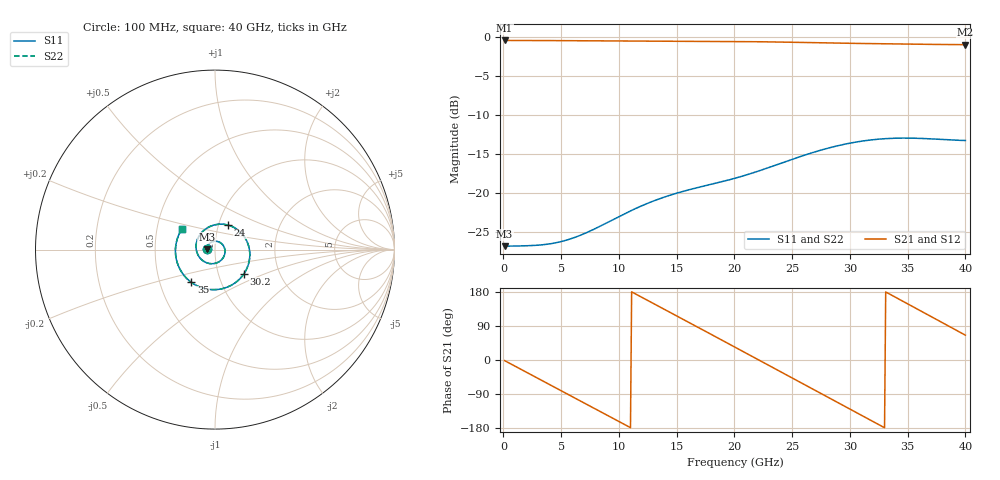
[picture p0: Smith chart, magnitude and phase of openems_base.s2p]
! P_ts6_pad_cut: 0402 capacitor pad on a 50 Ω microstrip, L2 plane cut out under it (next plane L5, 1.14 mm)
! stackup: ThunderScope Rev5.3 6-layer (FR408HR / FR-4, from the board file)
! ports: 1, 2
! openEMS 0.37.0, staircase, base mesh (dfine 0.035 mm), 571704 cells
# Hz S RI R 50
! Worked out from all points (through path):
!   400 points, 100 MHz to 40 GHz, reference 50 ohm
!   highest |S21| = -0.41 dB at 100 MHz (marker M1); lowest = -0.9 dB at 40 GHz (marker M2)
!   group delay of S21, straight-line fit = 45.4 ps
!   lowest |S11| = -26.8 dB at 100 MHz (marker M3), VSWR 1.10, Z = 45.6 + j0.18 ohm
!   |S11| at or under -10 dB: start of sweep to end of sweep
!   |S22| runs from -26.8 to -12.9 dB; largest |S21 - S12| = 0
!   S11 on the Smith chart (normalised r, x): 100 MHz: 0.91, +0.00; 24 GHz: 1.11, +0.31; 30.2 GHz: 1.32, -0.38; 35 GHz: 0.72, -0.28; 40 GHz: 0.67, +0.16
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1e8  -0.0455 0.00197  0.9539 -0.0271  0.9539 -0.0271  -0.0455 0.00197
1.9e9  -0.0309 0.0338  0.8185 -0.4896  0.8185 -0.4896  -0.0309 0.0338
3.8e9  0.00517 0.0466  0.4508 -0.8392  0.4508 -0.8392  0.00517 0.0466
5.3e9  0.0351 0.0347  0.0645 -0.9491  0.0645 -0.9491  0.0351 0.0347
6.8e9  0.0537 0.00588  -0.3318 -0.8899  -0.3318 -0.8899  0.0537 0.00588
1.02e10  0.0213 -0.0685  -0.917 -0.2356  -0.917 -0.2356  0.0213 -0.0685
1.18e10  -0.0218 -0.0787  -0.9266 0.1896  -0.9266 0.1896  -0.0218 -0.0787
1.34e10  -0.0654 -0.0635  -0.749 0.5763  -0.749 0.5763  -0.0654 -0.0635
1.51e10  -0.0971 -0.0248  -0.3948 0.8573  -0.3948 0.8573  -0.0971 -0.0248
1.67e10  -0.1055 0.0219  0.0224 0.9421  0.0224 0.9421  -0.1055 0.0219
1.83e10  -0.093 0.0678  0.4343 0.8348  0.4343 0.8348  -0.093 0.0678
2.01e10  -0.0583 0.1101  0.7873 0.5124  0.7873 0.5124  -0.0583 0.1101
2.21e10  0.00129 0.1384  0.9363 0.00375  0.9363 0.00375  0.00129 0.1384
2.4e10  0.0737 0.1362  0.7988 -0.48  0.7988 -0.48  0.0737 0.1362
2.67e10  0.1709 0.0596  0.2339 -0.8935  0.2339 -0.8935  0.1709 0.0596
2.84e10  0.1941 -0.031  -0.2098 -0.8944  -0.2098 -0.8944  0.1941 -0.031
3.02e10  0.1607 -0.1355  -0.6203 -0.6716  -0.6203 -0.6716  0.1607 -0.1355
3.18e10  0.0804 -0.2037  -0.8504 -0.326  -0.8504 -0.326  0.0804 -0.2037
3.34e10  -0.0279 -0.2222  -0.9032 0.0849  -0.9032 0.0849  -0.0279 -0.2222
3.5e10  -0.1318 -0.1825  -0.7686 0.4754  -0.7686 0.4754  -0.1318 -0.1825
3.76e10  -0.219 -0.033  -0.2377 0.8675  -0.2377 0.8675  -0.219 -0.033
4e10  -0.1856 0.113  0.3725 0.8157  0.3725 0.8157  -0.1856 0.113
